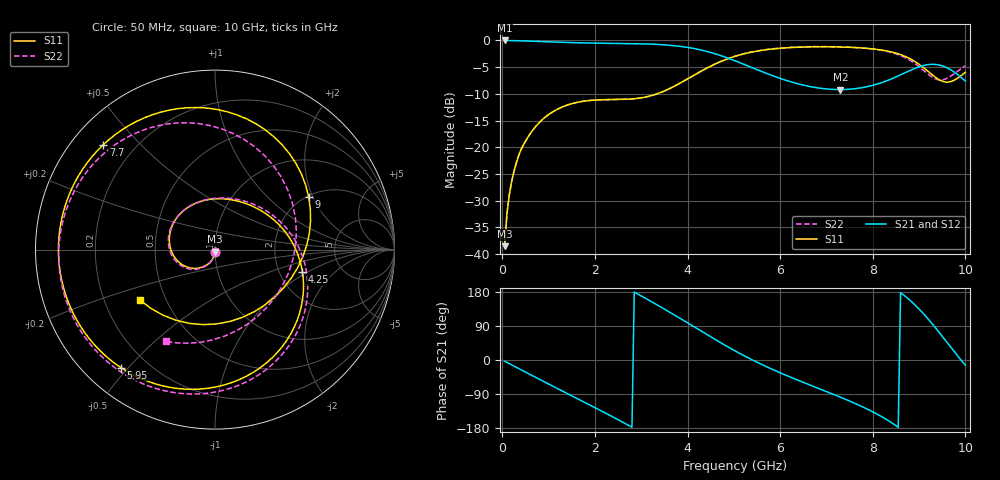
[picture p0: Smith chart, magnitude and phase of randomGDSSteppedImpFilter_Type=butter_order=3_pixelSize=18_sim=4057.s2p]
! freq	dB(S11)	phase(S11)	dB(S12)	phase(S12)
!  dB(S21)	phase(S21)	dB(S22)	phase(S22)
!S-par simulation data
#  GHz  S  DB  R 50
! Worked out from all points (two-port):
!   200 points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, 50 MHz to 10 GHz, reference 50 ohm
!   highest |S21| = 0.00 dB at 50 MHz (marker M1); lowest = -9.2 dB at 7.3 GHz (marker M2)
!   |S21| within 3 dB of the highest: start of sweep to 4.774 GHz
!   lowest |S11| = -38.5 dB at 50 MHz (marker M3), VSWR 1.02, Z = 49.9 - j1.19 ohm
!   |S11| at or under -10 dB: start of sweep to 3.337 GHz
!   |S22| runs from -38.5 to -1.1 dB; largest |S21 - S12| = 0
!   S11 on the Smith chart (normalised r, x): 50 MHz: 1.00, -0.02; 4.25 GHz: 2.68, -0.90; 5.95 GHz: 0.11, -0.48; 7.7 GHz: 0.09, +0.39; 9 GHz: 2.04, +1.87; 10 GHz: 0.36, -0.27
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0.05  -38.49 -92.9  -0.00 -3.2  -0.00 -3.2  -38.49 -92.7
0.2  -26.48 -103.1  -0.03 -12.9  -0.03 -12.9  -26.48 -102.3
0.45  -19.61 -121.0  -0.09 -28.7  -0.09 -28.7  -19.61 -119.4
1.1  -13.31 -162.4  -0.29 -69.5  -0.29 -69.5  -13.30 -158.0
1.75  -11.38 155.9  -0.46 -109.9  -0.46 -109.9  -11.38 162.9
2.65  -11.02 97.4  -0.57 -167.4  -0.57 -167.4  -11.03 106.5
3.4  -9.80 46.8  -0.77 141.5  -0.77 141.5  -9.82 54.6
3.85  -7.94 15.0  -1.12 109.1  -1.12 109.1  -7.94 21.4
4.25  -5.97 -14.4  -1.71 79.5  -1.71 79.5  -5.96 -8.3
4.65  -4.20 -44.0  -2.64 50.2  -2.64 50.2  -4.19 -37.2
5.05  -2.91 -72.5  -3.89 22.5  -3.89 22.5  -2.88 -64.3
5.5  -2.00 -101.9  -5.46 -5.9  -5.46 -5.9  -1.96 -91.6
5.95  -1.50 -128.5  -6.95 -31.1  -6.95 -31.1  -1.46 -115.7
6.7  -1.20 -168.9  -8.72 -68.7  -8.72 -68.7  -1.16 -151.1
7.3  -1.23 159.4  -9.19 -98.0  -9.19 -98.0  -1.20 -178.2
7.7  -1.37 136.8  -8.93 -119.1  -8.93 -119.1  -1.36 162.4
8.35  -2.05 93.1  -7.38 -161.0  -7.38 -161.0  -2.14 122.8
8.7  -2.99 62.4  -6.04 168.3  -6.04 168.3  -3.22 91.9
9  -4.45 29.4  -4.94 134.4  -4.94 134.4  -4.90 54.8
9.4  -7.18 -29.4  -4.54 78.0  -4.54 78.0  -7.34 -17.8
9.7  -7.66 -88.5  -5.58 31.1  -5.58 31.1  -6.59 -75.6
10  -5.96 -146.1  -7.60 -13.7  -7.60 -13.7  -4.74 -118.0
